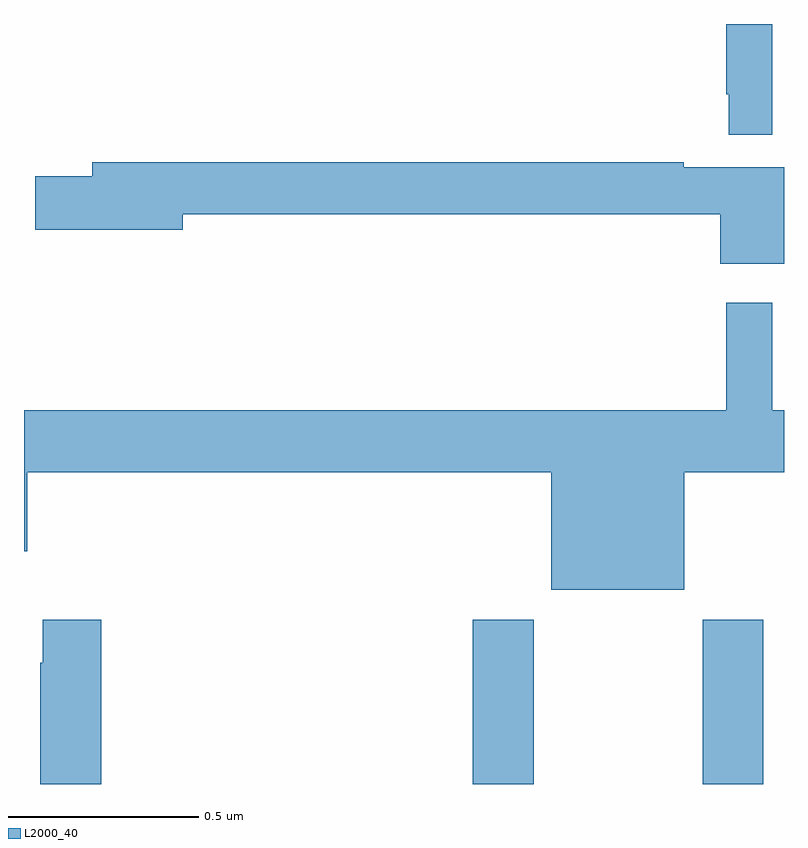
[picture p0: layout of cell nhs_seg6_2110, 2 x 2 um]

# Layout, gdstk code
import gdstk
lib = gdstk.Library(unit=1e-6, precision=1e-09)
def R(c, l, rs):  # rectangles x0, y0, x1, y1
    for r in rs: c.add(gdstk.rectangle(r[:2], r[2:], *l))
def P(c, l, *ps):  # polygons
    for p in ps: c.add(gdstk.Polygon(p, *l))
L2000_40 = (2000, 40)

nhs_seg6_2110 = lib.new_cell('nhs_seg6_2110')
R(nhs_seg6_2110, L2000_40, [(139.181,962.5,139.341,962.932), (139.786,962.5,139.946,962.932)])
P(nhs_seg6_2110, L2000_40, [(139.969,964.5),(139.848,964.5),(139.848,964.315),(139.854,964.315),(139.854,964.208),(139.969,964.208)],
  [(140,964.123),(139.736,964.123),(139.736,964.136),(138.179,964.136),(138.179,964.1),(138.03,964.1),(138.03,963.958),(138.418,963.958),(138.418,964),(139.832,964),(139.832,963.869),(140,963.869)],
  [(139.738,963.32),(140,963.32),(140,963.484),(139.969,963.484),(139.969,963.766),(139.848,963.766),(139.848,963.484),(138,963.484),(138,963.112),(138.008,963.112),(138.008,963.32),(139.388,963.32),(139.388,963.011),(139.738,963.011)],
  [(138.203,962.932),(138.049,962.932),(138.049,962.819),(138.043,962.819),(138.043,962.5),(138.203,962.5)])

lib.write_gds('nhs_seg6_2110.gds')
